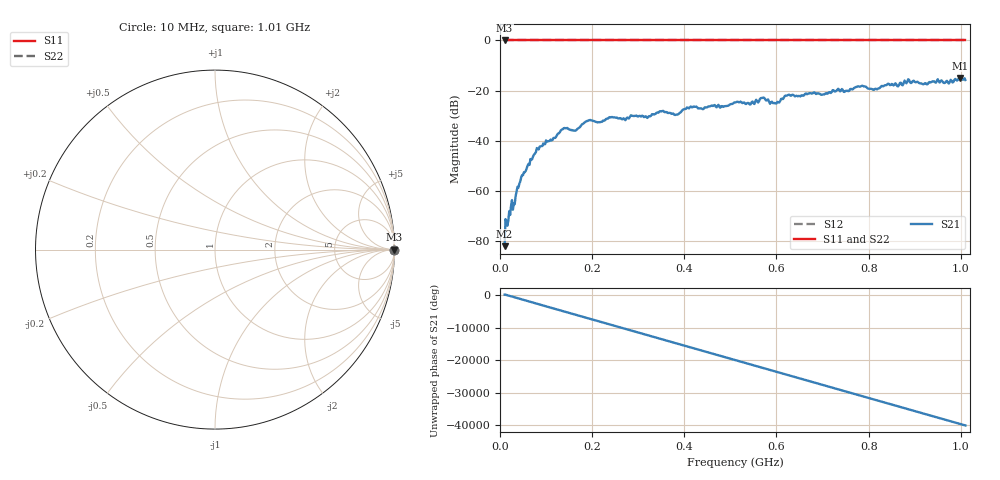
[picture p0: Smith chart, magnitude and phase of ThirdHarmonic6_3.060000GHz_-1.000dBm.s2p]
! 8/17/2025 8:54:57 AM
! C:\ANRITSUVNA\TEMP\TEMP.S2P
! CHANNEL.1
! TR.MEASUREMENT
! RAW.DATA
! RF.CORRECTION.OFF
! AVERAGING.OFF
! IF.BANDWIDTH: 5KHZ
! SWEEPTYPE:  FREQ.SWEEP(Linear)
! Reference Plane Port Info
! PORT:  PORT1  PORT2
! DISTANCE:  0  m  0  m
! TIME:  0  s  0  s
! PHASE.OFFSET:  0  deg.  0  deg.
! LOSS:  0  dB  0  dB
! REF.LOSS:  0  dB  0  dB
! REF.FREQ:  0  Hz  0  Hz
! Power Info
! POWER:  -20  dBm  -20  dBm
! EFF.POWER:  -20  dBm  -20  dBm
! SOURCE.ATTEN:  0  dB  0  dB
! TEST.ATTEN:  0  dB  0  dB
# GHZ S RI R 50.0
! FREQ.GHZ  S11RE  S11IM  S21RE  S21IM  S12RE  S12IM  S22RE  S22IM
!; PortSelection: Port_12
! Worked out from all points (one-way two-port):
!   501 points, 10 MHz to 1.01 GHz, reference 50 ohm
!   highest |S21| = -14.94 dB at 998 MHz (marker M1); lowest = -82.2 dB at 10 MHz (marker M2)
!   lowest |S11| = 0.0 dB at 10 MHz (marker M3)
!   |S11| at or under -10 dB: nowhere
!   |S22| runs from 0.0 to 0.0 dB; largest |S21 - S12| = 1.2
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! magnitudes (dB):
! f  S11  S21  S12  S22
! 10 MHz  0.0  -82.2  0.0  0.0
! 22 MHz  0.0  -69.7  0.0  0.0
! 32 MHz  0.0  -65.4  0.0  0.0
! 46 MHz  0.0  -54.7  0.0  0.0
! 78 MHz  0.0  -44.6  0.0  0.0
! 136 MHz  0.0  -35.5  0.0  0.0
! 162 MHz  0.0  -36.1  0.0  0.0
! 178 MHz  0.0  -33.5  0.0  0.0
! 344 MHz  0.0  -28.8  0.0  0.0
! 382 MHz  0.0  -29.7  0.0  0.0
! 410 MHz  0.0  -27.1  0.0  0.0
! 510 MHz  0.0  -24.7  0.0  0.0
! 548 MHz  0.0  -24.4  0.0  0.0
! 570 MHz  0.0  -22.9  0.0  0.0
! 596 MHz  0.0  -25.0  0.0  0.0
! 624 MHz  0.0  -21.9  0.0  0.0
! 678 MHz  0.0  -21.2  0.0  0.0
! 784 MHz  0.0  -18.3  0.0  0.0
! 814 MHz  0.0  -19.3  0.0  0.0
! 844 MHz  0.0  -17.4  0.0  0.0
! 998 MHz  0.0  -14.9  0.0  0.0
! 1.01 GHz  0.0  -15.8  0.0  0.0
